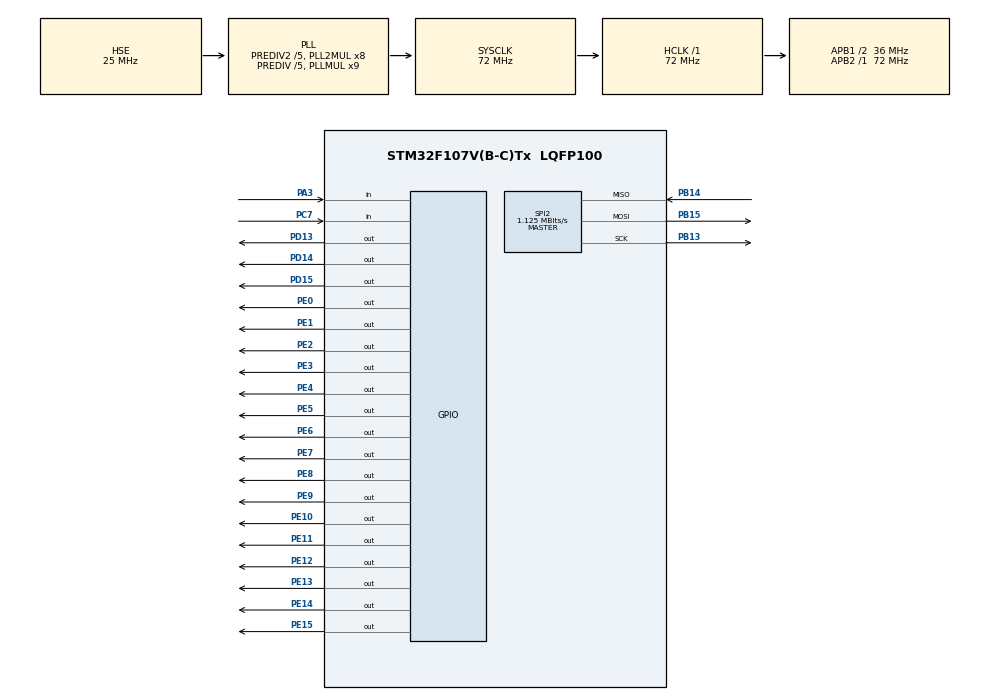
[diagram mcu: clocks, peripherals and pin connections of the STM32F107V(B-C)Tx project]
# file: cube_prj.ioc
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Mcu.Family=STM32F1
Mcu.Name=STM32F107V(B-C)Tx
Mcu.Package=LQFP100
NVIC.PriorityGroup=NVIC_PRIORITYGROUP_1
NVIC.SPI2_IRQn=true\:0\:0\:false\:false\:true
OSC_IN.Mode=HSE-External-Oscillator
OSC_IN.Signal=RCC_OSC_IN
OSC_OUT.Mode=HSE-External-Oscillator
OSC_OUT.Signal=RCC_OSC_OUT
PA13.Mode=Serial_Wire
PA13.Signal=SYS_JTMS-SWDIO
PA14.Mode=Serial_Wire
PA14.Signal=SYS_JTCK-SWCLK
PA3.Signal=GPIO_Input
PB13.Mode=Full_Duplex_Master
PB13.Signal=SPI2_SCK
PB14.Mode=Full_Duplex_Master
PB14.Signal=SPI2_MISO
PB15.Mode=Full_Duplex_Master
PB15.Signal=SPI2_MOSI
PC14-OSC32_IN.Mode=LSE-External-Oscillator
PC14-OSC32_IN.Signal=RCC_OSC32_IN
PC15-OSC32_OUT.Mode=LSE-External-Oscillator
PC15-OSC32_OUT.Signal=RCC_OSC32_OUT
PC7.Signal=GPIO_Input
PD13.Signal=GPIO_Output
PD14.Signal=GPIO_Output
PD15.Signal=GPIO_Output
PE0.GPIO_Speed=GPIO_SPEED_HIGH
PE0.Signal=GPIO_Output
PE1.GPIO_Speed=GPIO_SPEED_HIGH
PE1.Signal=GPIO_Output
PE10.GPIO_Speed=GPIO_SPEED_HIGH
PE10.Signal=GPIO_Output
PE11.GPIO_Speed=GPIO_SPEED_HIGH
PE11.Signal=GPIO_Output
PE12.GPIO_Speed=GPIO_SPEED_HIGH
PE12.Signal=GPIO_Output
PE13.GPIO_Speed=GPIO_SPEED_HIGH
PE13.Signal=GPIO_Output
PE14.GPIO_Speed=GPIO_SPEED_HIGH
PE14.Signal=GPIO_Output
PE15.GPIO_Speed=GPIO_SPEED_HIGH
PE15.Signal=GPIO_Output
PE2.GPIO_Speed=GPIO_SPEED_HIGH
PE2.Signal=GPIO_Output
PE3.GPIO_Speed=GPIO_SPEED_HIGH
PE3.Signal=GPIO_Output
PE4.GPIO_Speed=GPIO_SPEED_HIGH
PE4.Signal=GPIO_Output
PE5.GPIO_Speed=GPIO_SPEED_HIGH
PE5.Signal=GPIO_Output
PE6.GPIO_Speed=GPIO_SPEED_HIGH
PE6.Signal=GPIO_Output
PE7.GPIO_Speed=GPIO_SPEED_HIGH
PE7.Signal=GPIO_Output
PE8.GPIO_Speed=GPIO_SPEED_HIGH
PE8.Signal=GPIO_Output
PE9.GPIO_Speed=GPIO_SPEED_HIGH
PE9.Signal=GPIO_Output
ProjectManager.HeapSize=0x400
ProjectManager.StackSize=0x200
ProjectManager.TargetToolchain=MDK-ARM V5
RCC.AHBFreq_Value=72000000
RCC.APB1CLKDivider=RCC_HCLK_DIV2
RCC.APB1Freq_Value=36000000
RCC.APB1TimFreq_Value=72000000
RCC.APB2Freq_Value=72000000
RCC.APB2TimFreq_Value=72000000
RCC.HCLKFreq_Value=72000000
RCC.HSEDivPLL=RCC_HSE_PREDIV_DIV5
RCC.HSE_VALUE=25000000
RCC.HSIState=RCC_HSI_ON
RCC.PLLMUL=RCC_PLL_MUL9
RCC.PLLSourceVirtual=RCC_PLLSOURCE_HSE
RCC.Prediv1Source=RCC_PREDIV1_SOURCE_PLL2
RCC.Prediv2=RCC_HSE_PREDIV2_DIV5
RCC.SYSCLKFreq_VALUE=72000000
RCC.SYSCLKSource=RCC_SYSCLKSOURCE_PLLCLK
RCC.USBFreq_Value=48000000
SPI2.BaudRatePrescaler=SPI_BAUDRATEPRESCALER_32
SPI2.CLKPhase=SPI_PHASE_2EDGE
SPI2.CLKPolarity=SPI_POLARITY_HIGH
SPI2.CalculateBaudRate=1.125 MBits/s
SPI2.Mode=SPI_MODE_MASTER
VP_CRC_VS_CRC.Mode=CRC_Activate
board=cube_prj

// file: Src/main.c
/**
  ******************************************************************************
  * File Name          : main.c
  * Description        : Main program body
  ******************************************************************************
  *
  * COPYRIGHT(c) 2016 STMicroelectronics
  *
  * Redistribution and use in source and binary forms, with or without modification,
  * are permitted provided that the following conditions are met:
  *   1. Redistributions of source code must retain the above copyright notice,
  *      this list of conditions and the following disclaimer.
  *   2. Redistributions in binary form must reproduce the above copyright notice,
  *      this list of conditions and the following disclaimer in the documentation
  *      and/or other materials provided with the distribution.
  *   3. Neither the name of STMicroelectronics nor the names of its contributors
  *      may be used to endorse or promote products derived from this software
  *      without specific prior written permission.
  *
  * THIS SOFTWARE IS PROVIDED BY THE COPYRIGHT HOLDERS AND CONTRIBUTORS "AS IS"
  * AND ANY EXPRESS OR IMPLIED WARRANTIES, INCLUDING, BUT NOT LIMITED TO, THE
  * IMPLIED WARRANTIES OF MERCHANTABILITY AND FITNESS FOR A PARTICULAR PURPOSE ARE
  * DISCLAIMED. IN NO EVENT SHALL THE COPYRIGHT HOLDER OR CONTRIBUTORS BE LIABLE
  * FOR ANY DIRECT, INDIRECT, INCIDENTAL, SPECIAL, EXEMPLARY, OR CONSEQUENTIAL
  * DAMAGES (INCLUDING, BUT NOT LIMITED TO, PROCUREMENT OF SUBSTITUTE GOODS OR
  * SERVICES; LOSS OF USE, DATA, OR PROFITS; OR BUSINESS INTERRUPTION) HOWEVER
  * CAUSED AND ON ANY THEORY OF LIABILITY, WHETHER IN CONTRACT, STRICT LIABILITY,
  * OR TORT (INCLUDING NEGLIGENCE OR OTHERWISE) ARISING IN ANY WAY OUT OF THE USE
  * OF THIS SOFTWARE, EVEN IF ADVISED OF THE POSSIBILITY OF SUCH DAMAGE.
  *
  ******************************************************************************
  */
#include "stm32f1xx_hal.h"
#include "crc.h"
#include "spi.h"
#include "gpio.h"

/* USER CODE BEGIN Includes */
#include "gui.h"            /**< STemwin */
#include "delay.h"
//#include "exti_dup.h"
//#include "tim_dup.h"
//#include "led.h"
//#include "key.h"
//#include "app_led.h"
#include "ad7705.h"

/* USER CODE END Includes */

/* USER CODE BEGIN PV */
/* Private variables ---------------------------------------------------------*/

/* USER CODE END PV */

void SystemClock_Config(void);

/* USER CODE BEGIN PFP */
/* Private function prototypes -----------------------------------------------*/

/* USER CODE END PFP */

int main(void)
{

  /* USER CODE BEGIN 1 */
//    uint16_t i = 0;
    uint16_t adc_value = 0;

  /* USER CODE END 1 */

  /* MCU Configuration----------------------------------------------------------*/

  /* Reset of all peripherals, Initializes the Flash interface and the Systick. */
  HAL_Init();

  /* Configure the system clock */
  SystemClock_Config();

  /* Initialize all configured peripherals */
  MX_GPIO_Init();
  MX_CRC_Init();
  MX_SPI2_Init();

  /* USER CODE BEGIN 2 */
    AD7705_init();
    AD7705_self_calibration(1);
    adc_value = AD7705_get_adc_value(1);

    GUI_Init();
    GUI_SetBkColor(GUI_BLACK);
    GUI_SetColor(GUI_GREEN);

    GUI_SetFont(&GUI_Font24B_ASCII);
    GUI_DispStringAt("AD7705 Driver Code",0,50);

  /* USER CODE END 2 */

  /* Infinite loop */
  while (1)
  {

  /* USER CODE BEGIN 3 */
    adc_value = AD7705_get_adc_value(1);

    GUI_GotoXY(50, 100);
    GUI_DispFloat(adc_value, 4);
    GUI_DispStringAt("V", (50 + 70), 100);

  }
  /* USER CODE END 3 */

}

/** System Clock Configuration
*/
void SystemClock_Config(void)
{

  RCC_OscInitTypeDef RCC_OscInitStruct;
  RCC_ClkInitTypeDef RCC_ClkInitStruct;

  RCC_OscInitStruct.OscillatorType = RCC_OSCILLATORTYPE_HSE;
  RCC_OscInitStruct.HSEState = RCC_HSE_ON;
  RCC_OscInitStruct.HSEPredivValue = RCC_HSE_PREDIV_DIV5;
  RCC_OscInitStruct.Prediv1Source = RCC_PREDIV1_SOURCE_PLL2;
  RCC_OscInitStruct.PLL.PLLState = RCC_PLL_ON;
  RCC_OscInitStruct.PLL.PLLSource = RCC_PLLSOURCE_HSE;
  RCC_OscInitStruct.PLL.PLLMUL = RCC_PLL_MUL9;
  RCC_OscInitStruct.PLL2.PLL2State = RCC_PLL2_ON;
  RCC_OscInitStruct.PLL2.PLL2MUL = RCC_PLL2_MUL8;
  RCC_OscInitStruct.PLL2.HSEPrediv2Value = RCC_HSE_PREDIV2_DIV5;
  HAL_RCC_OscConfig(&RCC_OscInitStruct);

  RCC_ClkInitStruct.ClockType = RCC_CLOCKTYPE_HCLK|RCC_CLOCKTYPE_SYSCLK
                              |RCC_CLOCKTYPE_PCLK1|RCC_CLOCKTYPE_PCLK2;
  RCC_ClkInitStruct.SYSCLKSource = RCC_SYSCLKSOURCE_PLLCLK;
  RCC_ClkInitStruct.AHBCLKDivider = RCC_SYSCLK_DIV1;
  RCC_ClkInitStruct.APB1CLKDivider = RCC_HCLK_DIV2;
  RCC_ClkInitStruct.APB2CLKDivider = RCC_HCLK_DIV1;
  HAL_RCC_ClockConfig(&RCC_ClkInitStruct, FLASH_LATENCY_2);

  HAL_SYSTICK_Config(HAL_RCC_GetHCLKFreq()/1000);

  HAL_SYSTICK_CLKSourceConfig(SYSTICK_CLKSOURCE_HCLK);

  __HAL_RCC_PLLI2S_ENABLE();

  /* SysTick_IRQn interrupt configuration */
  HAL_NVIC_SetPriority(SysTick_IRQn, 0, 0);
}

/************************ (C) COPYRIGHT STMicroelectronics *****END OF FILE****/
